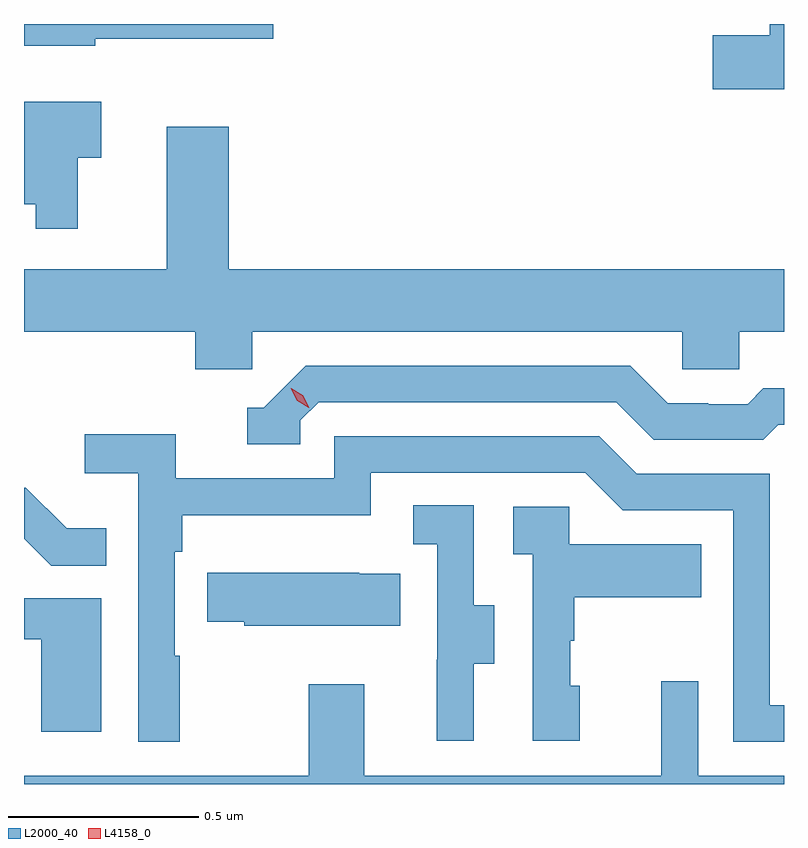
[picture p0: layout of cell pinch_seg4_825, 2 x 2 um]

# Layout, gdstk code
import gdstk
lib = gdstk.Library(unit=1e-6, precision=1e-09)
def P(c, l, *ps):  # polygons
    for p in ps: c.add(gdstk.Polygon(p, *l))
L2000_40 = (2000, 40)
L4158_0 = (4158, 0)

pinch_seg4_825 = lib.new_cell('pinch_seg4_825')
P(pinch_seg4_825, L2000_40, [(813.985,794.966),(813.947,794.966),(813.947,794.936),(813.798,794.936),(813.798,794.794),(813.985,794.794)],
  [(812.172,794.927),(812.641,794.927),(812.641,794.966),(811.985,794.966),(811.985,794.909),(812.172,794.909)],
  [(812.127,794.614),(812.188,794.614),(812.188,794.761),(811.985,794.761),(811.985,794.492),(812.016,794.492),(812.016,794.427),(812.127,794.427)],
  [(812.586,794.156),(813.717,794.156),(813.717,794.058),(813.867,794.058),(813.867,794.156),(813.985,794.156),(813.985,794.32),(812.524,794.32),(812.524,794.695),(812.36,794.695),(812.36,794.32),(811.985,794.32),(811.985,794.156),(812.435,794.156),(812.435,794.058),(812.586,794.058)],
  [(812.712,793.923),(812.76,793.971),(813.543,793.971),(813.642,793.872),(813.931,793.872),(813.97,793.911),(813.985,793.911),(813.985,794.008),(813.931,794.008),(813.889,793.965),(813.786,793.965),(813.786,793.968),(813.679,793.968),(813.58,794.067),(812.727,794.067),(812.616,793.956),(812.573,793.956),(812.573,793.86),(812.712,793.86)],
  [(812.395,793.304),(812.382,793.304),(812.382,793.577),(812.402,793.577),(812.402,793.673),(812.898,793.673),(812.898,793.785),(813.462,793.785),(813.561,793.686),(813.852,793.686),(813.852,793.077),(813.985,793.077),(813.985,793.173),(813.948,793.173),(813.948,793.782),(813.598,793.782),(813.499,793.881),(812.802,793.881),(812.802,793.77),(812.384,793.77),(812.384,793.886),(812.145,793.886),(812.145,793.784),(812.286,793.784),(812.286,793.077),(812.395,793.077)],
  [(812.201,793.639),(812.097,793.639),(811.99,793.746),(811.985,793.746),(811.985,793.612),(812.057,793.54),(812.201,793.54)],
  [(813.169,793.282),(813.223,793.282),(813.223,793.437),(813.168,793.437),(813.168,793.7),(813.009,793.7),(813.009,793.597),(813.072,793.597),(813.072,793.293),(813.071,793.293),(813.071,793.08),(813.169,793.08)],
  [(813.448,793.224),(813.423,793.224),(813.423,793.343),(813.433,793.343),(813.433,793.457),(813.767,793.457),(813.767,793.597),(813.42,793.597),(813.42,793.695),(813.273,793.695),(813.273,793.571),(813.324,793.571),(813.324,793.08),(813.448,793.08)],
  [(812.975,793.519),(812.867,793.519),(812.867,793.522),(812.467,793.522),(812.467,793.393),(812.565,793.393),(812.565,793.382),(812.975,793.382)],
  [(812.188,793.455),(811.985,793.455),(811.985,793.347),(812.03,793.347),(812.03,793.104),(812.188,793.104)],
  [(813.985,792.988),(813.759,792.988),(813.759,793.237),(813.662,793.237),(813.662,792.988),(812.881,792.988),(812.881,793.228),(812.734,793.228),(812.734,792.988),(811.985,792.988),(811.985,792.966),(813.985,792.966)])
P(pinch_seg4_825, L4158_0, [(812.734,793.956),(812.704,793.975),(812.687,794.007),(812.687,794.008),(812.688,794.008),(812.718,793.989),(812.735,793.956),(812.735,793.956)])

lib.write_gds('pinch_seg4_825.gds')
